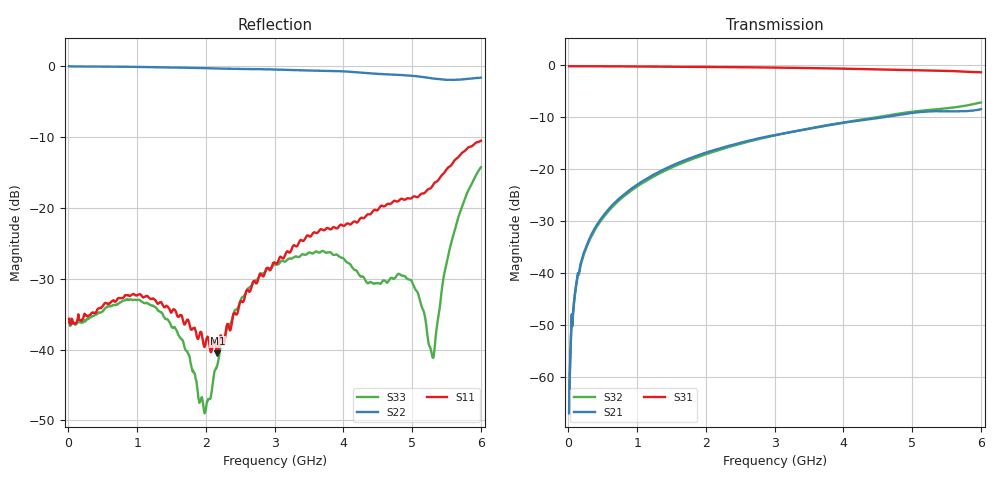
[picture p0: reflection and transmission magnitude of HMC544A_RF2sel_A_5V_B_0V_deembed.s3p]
! Device:	HMC544A
! Description:	GaAs MMIC SPDT Reflective Switch
! Package:	6-Lead Small Outline Transistor Package
! Frequency:	DC -  4 GHz
! Ports:
! RFC = Port 1
! RF1 = Port 2
! RF2 = Port 3
! State: RF2 Selected
! Control Voltages:
! A  = 5 V
! B  = 0 V
! Data:	Data was collected using a calibrated network analyzer with AFR software.
!	Fixtures were calculated using AFR and fixturing was applied to collect
!	this Deembedded  S Parameter data of HMC544A.
! Note:	Analog Devices supplies this data as a sample of measured data at the package pin
!	for this product.  Your particular data for this product may vary.
!	Data was taken at 25 degrees C.
!	Analog Devices reserves the right to change this data at anytime.
# Hz S  dB  R 50
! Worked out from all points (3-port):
!   801 points, 10 MHz to 6 GHz, reference 50 ohm
!   strongest paths, dB at 10 MHz, 1.508 GHz, 3.005 GHz, 4.503 GHz, 6 GHz:
!     S31: -0.2, -0.3, -0.5, -0.8, -1.4
!     S21: -66.9, -19.3, -13.5, -10.2, -8.5
!     S32: -66.6, -19.7, -13.5, -10.0, -7.2
!   lowest |S11| = -40.5 dB at 2.166 GHz (marker M1), VSWR 1.02, Z = 50.4 - j0.858 ohm
!   |S11| at or under -10 dB: start of sweep to end of sweep
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1e7  -35.65 -3.3  -68.25 119.3  -0.25 -0.3
     -66.89 87.1  -0.03 -0.4  -62.22 96.7
     -0.24 -0.2  -66.62 101.7  -36.14 -1.4
1.14825e8  -36.25 11.0  -41.96 93.3  -0.24 -1.6
           -41.96 93.4  -0.07 -2.7  -42.26 92.2
           -0.24 -1.6  -42.26 92.4  -36.38 12.0
4.068375e8  -34.66 26.3  -30.85 85.7  -0.25 -5.5
            -30.85 85.7  -0.08 -9.3  -31.18 82.5
            -0.25 -5.5  -31.18 82.7  -35.05 30.7
1.260412e9  -33.04 34.2  -20.93 72.4  -0.30 -16.9
            -20.93 72.4  -0.18 -28.7  -21.27 63.1
            -0.29 -16.9  -21.27 63.1  -33.98 42.9
1.979212e9  -39.66 -25.3  -16.94 60.9  -0.36 -26.5
            -16.94 60.9  -0.31 -45.7  -17.24 46.9
            -0.36 -26.5  -17.24 46.9  -49.00 -31.1
2.1664e9  -40.55 -65.0  -16.17 57.7  -0.38 -29.1
          -16.17 57.7  -0.36 -50.3  -16.43 42.6
          -0.38 -29.1  -16.44 42.6  -42.15 -100.8
3.005e9  -27.76 -145.6  -13.46 43.8  -0.50 -40.5
         -13.46 43.8  -0.50 -70.4  -13.51 23.7
         -0.50 -40.5  -13.52 23.7  -27.98 -108.8
4.884362e9  -18.86 170.9  -9.43 11.9  -0.95 -67.0
            -9.43 11.9  -1.29 -117.8  -9.19 -20.9
            -0.94 -67.0  -9.19 -20.9  -29.62 -92.2
5.296175e9  -16.91 160.6  -8.90 4.3  -1.07 -72.9
            -8.90 4.3  -1.76 -129.9  -8.58 -31.7
            -1.06 -72.9  -8.57 -31.6  -41.07 -127.3
6e9  -10.55 -172.1  -8.49 -21.6  -1.41 -84.0
     -8.49 -21.6  -1.65 -152.5  -7.21 -56.2
     -1.40 -84.0  -7.20 -56.1  -14.28 -137.9
